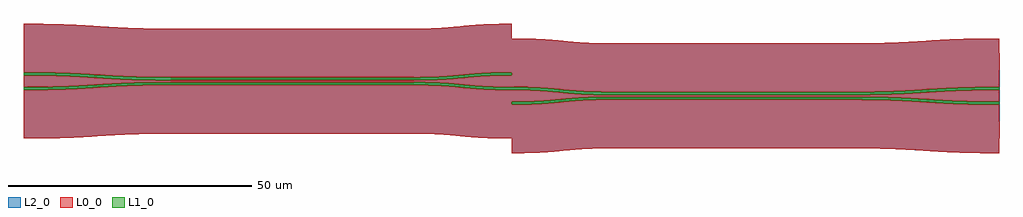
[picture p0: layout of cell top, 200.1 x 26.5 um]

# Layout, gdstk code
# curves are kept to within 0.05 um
import gdstk
lib = gdstk.Library(unit=1e-6, precision=1e-09)
def R(c, l, rs):  # rectangles x0, y0, x1, y1
    for r in rs: c.add(gdstk.rectangle(r[:2], r[2:], *l))
def P(c, l, *ps):  # polygons
    for p in ps: c.add(gdstk.Polygon(p, *l))
L0_0 = (0, 0)
L1_0 = (1, 0)
L2_0 = (2, 0)

waveguide_1 = lib.new_cell('Waveguide_1')
R(waveguide_1, L1_0, [(0,-0.25,0.1,0.25)])
R(waveguide_1, L2_0, [(0,-10.25,0.1,10.25)])

bbend_1 = lib.new_cell('BBend_1')
P(bbend_1, L1_0, [(0,0.25),(8.916,0.1),(20.886,-0.567),(20.864,-1.103),(8.896,-0.412),(0,-0.25)],
  [(20.886,-0.567),(30,-0.725),(30,-1.275),(20.864,-1.103)])
P(bbend_1, L2_0, [(0.001,10.25),(9.316,10.086),(21.299,9.406),(20.452,-11.076),(8.701,-10.406),(-0.001,-10.25)],
  [(21.299,9.406),(30.001,9.25),(29.999,-11.25),(20.452,-11.076)])

bbend_2 = lib.new_cell('BBend_2')
P(bbend_2, L1_0, [(0,-2.75),(9.115,-2.592),(20.866,-1.934),(20.885,-2.396),(10.596,-3.01),(4.568,-3.212),(0,-3.25)],
  [(20.866,-1.934),(25.153,-1.812),(30,-1.775),(30,-2.225),(25.161,-2.268),(20.885,-2.396)])
P(bbend_2, L2_0, [(-0.001,7.25),(8.701,7.406),(20.452,8.076),(21.299,-12.406),(9.316,-13.086),(0.001,-13.25)],
  [(20.452,8.076),(29.999,8.25),(30.001,-12.25),(21.299,-12.406)])

taper_1 = lib.new_cell('Taper_1')
P(taper_1, L1_0, [(0,0.275),(0,-0.275),(50,-0.25),(50,0.25)])
R(taper_1, L2_0, [(0,-10.25,50,10.25)])
P(taper_1, L2_0, [(50,10.25),(50,-10.25),(50,-10.25),(50,10.25)])

taper_2 = lib.new_cell('Taper_2')
P(taper_2, L1_0, [(0,0.225),(0,-0.225),(50,-0.25),(50,0.25)])
R(taper_2, L2_0, [(0,-10.25,50,10.25)])
P(taper_2, L2_0, [(50,10.25),(50,-10.25),(50,-10.25),(50,10.25)])

bbend_3 = lib.new_cell('BBend_3')
P(bbend_3, L1_0, [(80,-0.75),(85.476,-0.62),(93.474,0.057),(97.826,0.233),(97.834,-0.267),(93.232,-0.461),(85.655,-1.111),(80,-1.25)],
  [(97.826,0.233),(100,0.25),(100,-0.25),(97.834,-0.267)])
P(bbend_3, L2_0, [(79.996,9.25),(85.197,9.38),(92.797,10.034),(97.657,10.231),(98.002,-10.266),(94.185,-10.419),(85.868,-11.114),(80.004,-11.25)],
  [(97.657,10.231),(99.996,10.25),(100.004,-10.25),(98.002,-10.266)])

bbend_4 = lib.new_cell('BBend_4')
P(bbend_4, L1_0, [(80,-1.75),(85.655,-1.889),(93.232,-2.539),(97.834,-2.733),(97.826,-3.233),(93.474,-3.057),(85.476,-2.38),(80,-2.25)],
  [(97.834,-2.733),(100,-2.75),(100,-3.25),(97.826,-3.233)])
P(bbend_4, L2_0, [(80.004,8.25),(85.868,8.114),(94.185,7.419),(98.002,7.266),(97.657,-13.231),(92.797,-13.034),(85.197,-12.38),(79.996,-12.25)],
  [(98.002,7.266),(100.004,7.25),(99.996,-13.25),(97.657,-13.231)])

adiabaticcoupler_1 = lib.new_cell('AdiabaticCoupler_1')
adiabaticcoupler_1.add(gdstk.Reference(bbend_1, (0,0)))
adiabaticcoupler_1.add(gdstk.Reference(bbend_2, (0,0)))
adiabaticcoupler_1.add(gdstk.Reference(taper_1, (30,-1)))
adiabaticcoupler_1.add(gdstk.Reference(taper_2, (30,-2)))
adiabaticcoupler_1.add(gdstk.Reference(bbend_3, (0,0)))
adiabaticcoupler_1.add(gdstk.Reference(bbend_4, (0,0)))

bbend_5 = lib.new_cell('BBend_5')
P(bbend_5, L1_0, [(0,0.25),(5.503,0.125),(13.37,-0.531),(17.834,-0.71),(17.825,-1.256),(13.472,-1.075),(5.476,-0.386),(0,-0.25)],
  [(17.834,-0.71),(20,-0.725),(20,-1.275),(17.825,-1.256)])
P(bbend_5, L2_0, [(0.004,10.25),(5.868,10.114),(14.185,9.419),(18.002,9.266),(17.657,-11.231),(12.797,-11.034),(5.197,-10.38),(-0.004,-10.25)],
  [(18.002,9.266),(20.004,9.25),(19.996,-11.25),(17.657,-11.231)])

bbend_6 = lib.new_cell('BBend_6')
P(bbend_6, L1_0, [(0,-2.75),(5.776,-2.609),(13.475,-1.961),(17.826,-1.79),(17.834,-2.244),(13.506,-2.424),(5.349,-3.122),(0,-3.25)],
  [(17.826,-1.79),(20,-1.775),(20,-2.225),(17.834,-2.244)])
P(bbend_6, L2_0, [(-0.004,7.25),(5.197,7.38),(12.797,8.034),(17.657,8.231),(18.002,-12.266),(14.185,-12.419),(5.868,-13.114),(0.004,-13.25)],
  [(17.657,8.231),(19.996,8.25),(20.004,-12.25),(18.002,-12.266)])

bbend_7 = lib.new_cell('BBend_7')
P(bbend_7, L1_0, [(70,-0.75),(78.675,-0.603),(90.865,0.085),(90.886,-0.415),(80.19,-1.038),(74.427,-1.217),(70,-1.25)],
  [(90.865,0.085),(95.153,0.21),(100,0.25),(100,-0.25),(95.162,-0.29),(90.886,-0.415)])
P(bbend_7, L2_0, [(69.999,9.25),(78.701,9.406),(90.452,10.076),(91.299,-10.406),(79.316,-11.086),(70.001,-11.25)],
  [(90.452,10.076),(99.999,10.25),(100.001,-10.25),(91.299,-10.406)])

bbend_8 = lib.new_cell('BBend_8')
P(bbend_8, L1_0, [(70,-1.75),(78.916,-1.906),(90.886,-2.585),(90.865,-3.085),(78.675,-2.397),(70,-2.25)],
  [(90.886,-2.585),(95.162,-2.71),(100,-2.75),(100,-3.25),(95.153,-3.21),(90.865,-3.085)])
P(bbend_8, L2_0, [(70.001,8.25),(79.316,8.086),(91.299,7.406),(90.452,-13.076),(78.701,-12.406),(69.999,-12.25)],
  [(91.299,7.406),(100.001,7.25),(99.999,-13.25),(90.452,-13.076)])

adiabaticcoupler_2 = lib.new_cell('AdiabaticCoupler_2')
adiabaticcoupler_2.add(gdstk.Reference(bbend_5, (0,0)))
adiabaticcoupler_2.add(gdstk.Reference(bbend_6, (0,0)))
adiabaticcoupler_2.add(gdstk.Reference(taper_1, (20,-1)))
adiabaticcoupler_2.add(gdstk.Reference(taper_2, (20,-2)))
adiabaticcoupler_2.add(gdstk.Reference(bbend_7, (0,0)))
adiabaticcoupler_2.add(gdstk.Reference(bbend_8, (0,0)))

top = lib.new_cell('top')
P(top, L0_0, [(5.085,10.209),(0.101,10.25),(0.1,7.25),(0.1,10.25),(0,10.25),(0,0.25),(5.085,0.21)],
  [(0.792,-2.75),(5.085,-2.71),(5.085,-0.296),(0,-0.25),(0,-10.25),(0.101,-10.25),(0.101,-13.25),(5.085,-13.209),(5.085,-3.204),(0.1,-3.25),(0.1,-2.75)],
  [(12.055,9.96),(5.085,10.209),(5.085,0.21),(12.055,-0.047)],
  [(5.213,-2.708),(12.055,-2.452),(12.055,-0.566),(5.085,-0.296),(5.085,-2.71)],
  [(12.055,-2.935),(5.085,-3.204),(5.085,-5.75),(12.055,-5.75)],
  [(5.127,-13.208),(12.055,-12.96),(12.055,-5.75),(5.085,-5.75)],
  [(20.77,9.433),(12.055,9.96),(12.055,-0.047),(20.77,-0.558)],
  [(12.215,-2.443),(20.77,-1.942),(20.77,-1.095),(12.055,-0.566),(12.055,-2.452)],
  [(20.77,-2.406),(12.055,-2.935),(12.055,-5.75),(20.77,-5.75)],
  [(12.234,-12.95),(20.77,-12.433),(20.77,-5.75),(12.055,-5.75),(12.055,-12.96)],
  [(26.993,9.267),(20.77,9.433),(20.77,-0.558),(26.993,-0.711)],
  [(20.966,-1.934),(26.993,-1.789),(26.993,-1.257),(20.77,-1.095),(20.77,-1.942)],
  [(26.993,-2.243),(20.77,-2.406),(20.77,-5.75),(26.993,-5.75)],
  [(20.799,-12.432),(26.993,-12.267),(26.993,-5.75),(20.77,-5.75)],
  [(80.561,-0.749),(82.66,-0.725),(82.66,9.277),(26.993,9.267),(26.993,-0.711)],
  [(27.146,-1.787),(82.66,-1.775),(82.66,-1.225),(26.993,-1.257),(26.993,-1.789)],
  [(82.66,-2.275),(26.993,-2.243),(26.993,-5.75),(82.66,-5.75)],
  [(82.66,-5.75),(26.993,-5.75),(26.993,-12.267),(82.66,-12.277)],
  [(82.853,-0.721),(87.531,-0.488),(87.531,9.549),(82.66,9.277),(82.66,-0.725)],
  [(87.531,-0.989),(82.66,-1.225),(82.66,-1.775),(87.531,-2.011)],
  [(87.531,-2.512),(82.66,-2.275),(82.66,-5.75),(87.531,-5.75)],
  [(87.531,-5.75),(82.66,-5.75),(82.66,-12.277),(87.531,-12.549)],
  [(87.659,-0.478),(94.232,0.098),(94.232,10.114),(87.531,9.549),(87.531,-0.488)],
  [(94.232,-0.403),(87.531,-0.989),(87.531,-2.011),(94.232,-2.597)],
  [(94.232,-3.098),(87.531,-2.512),(87.531,-5.75),(94.232,-5.75)],
  [(94.232,-5.75),(87.531,-5.75),(87.531,-12.549),(94.232,-13.114)],
  [(94.295,0.102),(100.1,0.25),(100.096,10.25),(94.232,10.114),(94.232,0.098)],
  [(99.868,-0.25),(94.232,-0.403),(94.232,-2.597),(100.1,-2.75),(100.1,-0.25)],
  [(100.1,-3.25),(94.232,-3.098),(94.232,-5.75),(100.1,-5.75)],
  [(100.1,-5.75),(94.232,-5.75),(94.232,-13.114),(100.1,-13.25)],
  [(100.562,-2.75),(106.142,-2.905),(106.142,7.104),(100.1,7.25),(100.1,-2.75)],
  [(100.786,-5.749),(106.142,-5.593),(106.142,-3.419),(100.1,-3.25),(100.1,-5.75)],
  [(100.103,-13.25),(100.104,-16.25),(106.142,-16.104),(106.142,-6.081),(100.1,-6.25)],
  [(112.668,6.549),(106.142,7.104),(106.142,-2.905),(112.668,-3.472)],
  [(106.168,-5.592),(112.668,-5.027),(112.668,-4.006),(106.142,-3.419)],
  [(106.314,-16.095),(112.668,-15.549),(112.668,-5.495),(106.142,-6.081),(106.142,-16.104)],
  [(117.399,6.28),(112.668,6.549),(112.668,-3.472),(117.399,-3.7)],
  [(112.761,-5.02),(117.399,-4.8),(117.399,-4.245),(112.668,-4.006),(112.668,-5.027)],
  [(112.694,-15.547),(117.399,-15.28),(117.399,-5.255),(112.668,-5.495)],
  [(170.792,-3.749),(173.095,-3.735),(173.095,6.265),(117.399,6.28),(117.399,-3.7)],
  [(117.53,-4.797),(173.095,-4.765),(173.095,-4.235),(117.399,-4.245),(117.399,-4.8)],
  [(117.57,-15.276),(173.095,-15.265),(173.095,-5.265),(117.399,-5.255),(117.399,-15.28)],
  [(173.202,-3.734),(179.401,-3.577),(179.401,6.432),(173.095,6.265),(173.095,-3.735)],
  [(179.401,-4.078),(173.095,-4.235),(173.095,-4.765),(179.401,-4.922)],
  [(179.401,-5.423),(173.095,-5.265),(173.095,-15.265),(179.401,-15.432)],
  [(179.43,-3.576),(187.8,-3.076),(187.8,6.941),(179.401,6.432)],
  [(187.8,-3.577),(179.401,-4.078),(179.401,-4.922),(187.8,-5.423)],
  [(187.8,-5.924),(179.401,-5.423),(179.401,-15.432),(187.8,-15.941)],
  [(187.956,-3.067),(194.785,-2.799),(194.785,7.203),(187.8,6.941),(187.8,-3.076)],
  [(194.785,-3.3),(187.8,-3.577),(187.8,-5.423),(194.785,-5.701)],
  [(194.785,-6.201),(187.8,-5.924),(187.8,-15.941),(194.785,-16.203)],
  [(200.101,4.25),(200.099,7.25),(194.785,7.203),(194.785,-2.799),(200.1,-2.75),(200.1,-3.25),(194.785,-3.3),(194.785,-5.701),(200.1,-5.75)],
  [(200.099,-13.25),(200.1,-6.25),(194.785,-6.201),(194.785,-16.203),(200.099,-16.25)])
top.add(gdstk.Reference(waveguide_1, (0,0)))
top.add(gdstk.Reference(adiabaticcoupler_1, (0.1,0)))
top.add(gdstk.Reference(adiabaticcoupler_2, (100.1,-3)))

lib.write_gds('top.gds')
